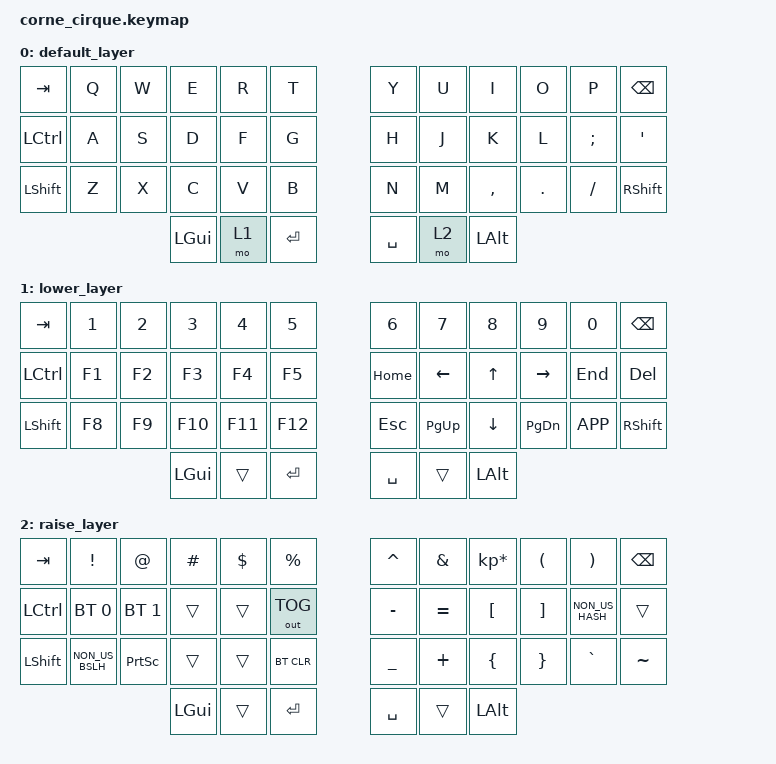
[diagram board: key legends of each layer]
/*
 * Copyright (c) 2020 The ZMK Contributors
 *
 * SPDX-License-Identifier: MIT
 */

#include <behaviors.dtsi>
#include <dt-bindings/zmk/bt.h>
#include <dt-bindings/zmk/keys.h>
#include <dt-bindings/zmk/outputs.h>

/ {
    keymap {
        compatible = "zmk,keymap";

        default_layer {
            bindings = <
&kp TAB    &kp Q  &kp W  &kp E     &kp R  &kp T      &kp Y      &kp U  &kp I      &kp O    &kp P     &kp BSPC
&kp LCTRL  &kp A  &kp S  &kp D     &kp F  &kp G      &kp H      &kp J  &kp K      &kp L    &kp SEMI  &kp SQT
&kp LSHFT  &kp Z  &kp X  &kp C     &kp V  &kp B      &kp N      &kp M  &kp COMMA  &kp DOT  &kp FSLH  &kp RIGHT_SHIFT
                         &kp LGUI  &mo 1  &kp ENTER  &kp SPACE  &mo 2  &kp LALT
            >;
        };

        lower_layer {
            bindings = <
&kp TAB     &kp N1  &kp N2  &kp N3    &kp N4   &kp N5     &kp N6     &kp N7       &kp N8        &kp N9         &kp N0     &kp BSPC
&kp LCTRL   &kp F1  &kp F2  &kp F3    &kp F4   &kp F5     &kp HOME   &kp LEFT     &kp UP        &kp RIGHT      &kp END    &kp DEL
&kp LSHIFT  &kp F8  &kp F9  &kp F10   &kp F11  &kp F12    &kp ESC    &kp PAGE_UP  &kp DOWN      &kp PAGE_DOWN  &kp K_APP  &kp RIGHT_SHIFT
                            &kp LGUI  &trans   &kp ENTER  &kp SPACE  &trans       &kp LEFT_ALT
            >;
        };

        raise_layer {
            bindings = <
&kp TAB    &kp EXCL         &kp AT           &kp HASH  &kp DLLR  &kp PRCNT     &kp CARET  &kp AMPS   &kp KP_MULTIPLY  &kp LPAR  &kp RPAR         &kp BSPC
&kp LCTRL  &bt BT_SEL 0     &bt BT_SEL 1     &trans    &trans    &out OUT_TOG  &kp MINUS  &kp EQUAL  &kp LBKT         &kp RBKT  &kp NON_US_HASH  &trans
&kp LSHFT  &kp NON_US_BSLH  &kp PRINTSCREEN  &trans    &trans    &bt BT_CLR    &kp UNDER  &kp PLUS   &kp LBRC         &kp RBRC  &kp GRAVE        &kp TILDE
                                             &kp LGUI  &trans    &kp ENTER     &kp SPACE  &trans     &kp LALT
            >;
        };
    };
};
